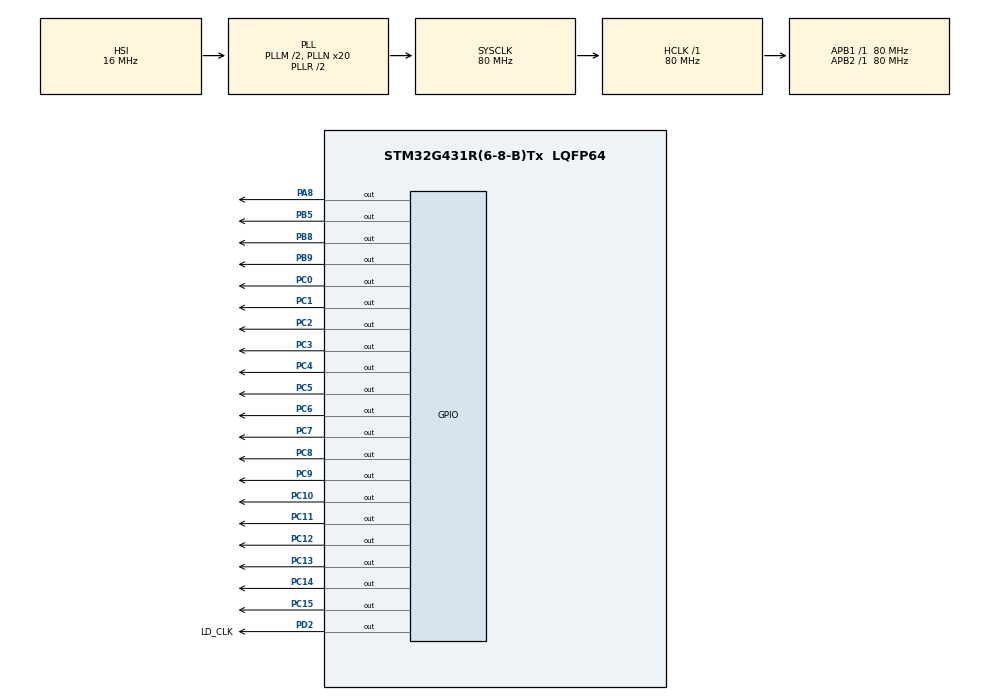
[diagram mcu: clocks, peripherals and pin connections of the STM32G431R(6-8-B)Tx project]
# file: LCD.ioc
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Mcu.Family=STM32G4
Mcu.Name=STM32G431R(6-8-B)Tx
Mcu.Package=LQFP64
NVIC.PriorityGroup=NVIC_PRIORITYGROUP_4
PA8.Signal=GPIO_Output
PB5.Signal=GPIO_Output
PB8-BOOT0.Signal=GPIO_Output
PB9.Signal=GPIO_Output
PC0.Signal=GPIO_Output
PC1.Signal=GPIO_Output
PC10.Signal=GPIO_Output
PC11.Signal=GPIO_Output
PC12.Signal=GPIO_Output
PC13.Signal=GPIO_Output
PC14-OSC32_IN.Signal=GPIO_Output
PC15-OSC32_OUT.Signal=GPIO_Output
PC2.Signal=GPIO_Output
PC3.Signal=GPIO_Output
PC4.Signal=GPIO_Output
PC5.Signal=GPIO_Output
PC6.Signal=GPIO_Output
PC7.Signal=GPIO_Output
PC8.Signal=GPIO_Output
PC9.Signal=GPIO_Output
PD2.GPIO_Label=LD_CLK
PD2.Signal=GPIO_Output
PF0-OSC_IN.Mode=HSE-External-Oscillator
PF0-OSC_IN.Signal=RCC_OSC_IN
PF1-OSC_OUT.Mode=HSE-External-Oscillator
PF1-OSC_OUT.Signal=RCC_OSC_OUT
ProjectManager.HeapSize=0x200
ProjectManager.StackSize=0x400
ProjectManager.TargetToolchain=MDK-ARM V5.27
RCC.ADC12Freq_Value=80000000
RCC.AHBFreq_Value=80000000
RCC.APB1Freq_Value=80000000
RCC.APB1TimFreq_Value=80000000
RCC.APB2Freq_Value=80000000
RCC.APB2TimFreq_Value=80000000
RCC.CortexFreq_Value=80000000
RCC.EXTERNAL_CLOCK_VALUE=12288000
RCC.HCLKFreq_Value=80000000
RCC.HSE_VALUE=24000000
RCC.HSI48_VALUE=48000000
RCC.HSI_VALUE=16000000
RCC.LSE_VALUE=32768
RCC.PLLM=RCC_PLLM_DIV2
RCC.PLLN=20
RCC.SYSCLKFreq_VALUE=80000000
RCC.SYSCLKSource=RCC_SYSCLKSOURCE_PLLCLK
RCC.USBFreq_Value=80000000
RCC.VCOOutputFreq_Value=160000000
VP_SYS_VS_DBSignals.Mode=DisableDeadBatterySignals
board=custom

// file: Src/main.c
/* USER CODE BEGIN Header */
/**
  ******************************************************************************
  * @file           : main.c
  * @brief          : Main program body
  ******************************************************************************
  * @attention
  *
  * <h2><center>&copy; Copyright (c) 2021 STMicroelectronics.
  * All rights reserved.</center></h2>
  *
  * This software component is licensed by ST under BSD 3-Clause license,
  * the "License"; You may not use this file except in compliance with the
  * License. You may obtain a copy of the License at:
  *                        opensource.org/licenses/BSD-3-Clause
  *
  ******************************************************************************
  */
/* USER CODE END Header */
#include "main.h"
#include <stdio.h>
/* USER CODE BEGIN Includes */
#include "lcd.h"
/* USER CODE END Includes */

/* USER CODE BEGIN PV */
uint16_t Led_Val;
uint8_t i = 0;
/* USER CODE END PV */

void SystemClock_Config(void);
static void MX_GPIO_Init(void);

/* USER CODE BEGIN 0 */
//操作LED的函数
//1 关闭全部LED，避免与LCD起冲突
void TurnOff_LEDS()
{
	Led_Val = 0xFF00;
	HAL_GPIO_WritePin(LD_CLK_GPIO_Port, LD_CLK_Pin, GPIO_PIN_SET);
	GPIOC->ODR = (uint32_t)Led_Val;
	HAL_GPIO_WritePin(LD_CLK_GPIO_Port, LD_CLK_Pin, GPIO_PIN_RESET);
}
//2 关闭LED
void TurnOff_LED(uint8_t i)
{
	Led_Val |= (0x01 << (7 + i));
	HAL_GPIO_WritePin(LD_CLK_GPIO_Port, LD_CLK_Pin, GPIO_PIN_SET);
	GPIOC->ODR = (uint32_t)Led_Val;
	HAL_GPIO_WritePin(LD_CLK_GPIO_Port, LD_CLK_Pin, GPIO_PIN_RESET);
}
//3 打开LED
void TurnOn_LED(uint8_t i)
{
	Led_Val &= ~(0x01 << (7 + i));
	HAL_GPIO_WritePin(LD_CLK_GPIO_Port, LD_CLK_Pin, GPIO_PIN_SET);
	GPIOC->ODR = (uint32_t)Led_Val;
	HAL_GPIO_WritePin(LD_CLK_GPIO_Port, LD_CLK_Pin, GPIO_PIN_RESET);
}

//LCD显示进程
void Display_Proc()
{
	uint8_t buf[30];
	sprintf((char *)buf, "The value of i is: ");
	LCD_DisplayStringLine(Line0, buf);
	sprintf((char *)buf, "   %d", i);
	LCD_DisplayStringLine(Line1, buf);
}
/* USER CODE END 0 */

int main(void)
{

  /* MCU Configuration--------------------------------------------------------*/

  /* Reset of all peripherals, Initializes the Flash interface and the Systick. */
  HAL_Init();

  /* Configure the system clock */
  SystemClock_Config();

  /* Initialize all configured peripherals */
  MX_GPIO_Init();
  /* USER CODE BEGIN 2 */
	//初始化LCD
	LCD_Init();
	LCD_Clear(White);
	LCD_SetBackColor(White);
	LCD_SetTextColor(Black);
	//关闭全部LED
	TurnOff_LEDS();
  /* USER CODE END 2 */

  /* Infinite loop */
  /* USER CODE BEGIN WHILE */
  while (1)
  {
		Display_Proc();
    /* USER CODE END WHILE */

    /* USER CODE BEGIN 3 */
		if(++i == 100)
		{
			i = 0;
		}
		HAL_Delay(100);
  }
  /* USER CODE END 3 */
}

void SystemClock_Config(void)
{
  RCC_OscInitTypeDef RCC_OscInitStruct = {0};
  RCC_ClkInitTypeDef RCC_ClkInitStruct = {0};

  /** Configure the main internal regulator output voltage
  */
  HAL_PWREx_ControlVoltageScaling(PWR_REGULATOR_VOLTAGE_SCALE1);
  /** Initializes the RCC Oscillators according to the specified parameters
  * in the RCC_OscInitTypeDef structure.
  */
  RCC_OscInitStruct.OscillatorType = RCC_OSCILLATORTYPE_HSI;
  RCC_OscInitStruct.HSIState = RCC_HSI_ON;
  RCC_OscInitStruct.HSICalibrationValue = RCC_HSICALIBRATION_DEFAULT;
  RCC_OscInitStruct.PLL.PLLState = RCC_PLL_ON;
  RCC_OscInitStruct.PLL.PLLSource = RCC_PLLSOURCE_HSI;
  RCC_OscInitStruct.PLL.PLLM = RCC_PLLM_DIV2;
  RCC_OscInitStruct.PLL.PLLN = 20;
  RCC_OscInitStruct.PLL.PLLP = RCC_PLLP_DIV2;
  RCC_OscInitStruct.PLL.PLLQ = RCC_PLLQ_DIV2;
  RCC_OscInitStruct.PLL.PLLR = RCC_PLLR_DIV2;
  if (HAL_RCC_OscConfig(&RCC_OscInitStruct) != HAL_OK)
  {
    Error_Handler();
  }
  /** Initializes the CPU, AHB and APB buses clocks
  */
  RCC_ClkInitStruct.ClockType = RCC_CLOCKTYPE_HCLK|RCC_CLOCKTYPE_SYSCLK
                              |RCC_CLOCKTYPE_PCLK1|RCC_CLOCKTYPE_PCLK2;
  RCC_ClkInitStruct.SYSCLKSource = RCC_SYSCLKSOURCE_PLLCLK;
  RCC_ClkInitStruct.AHBCLKDivider = RCC_SYSCLK_DIV1;
  RCC_ClkInitStruct.APB1CLKDivider = RCC_HCLK_DIV1;
  RCC_ClkInitStruct.APB2CLKDivider = RCC_HCLK_DIV1;

  if (HAL_RCC_ClockConfig(&RCC_ClkInitStruct, FLASH_LATENCY_2) != HAL_OK)
  {
    Error_Handler();
  }
}

static void MX_GPIO_Init(void)
{
  GPIO_InitTypeDef GPIO_InitStruct = {0};

  /* GPIO Ports Clock Enable */
  __HAL_RCC_GPIOC_CLK_ENABLE();
  __HAL_RCC_GPIOF_CLK_ENABLE();
  __HAL_RCC_GPIOA_CLK_ENABLE();
  __HAL_RCC_GPIOD_CLK_ENABLE();
  __HAL_RCC_GPIOB_CLK_ENABLE();

  /*Configure GPIO pin Output Level */
  HAL_GPIO_WritePin(GPIOC, GPIO_PIN_13|GPIO_PIN_14|GPIO_PIN_15|GPIO_PIN_0
                          |GPIO_PIN_1|GPIO_PIN_2|GPIO_PIN_3|GPIO_PIN_4
                          |GPIO_PIN_5|GPIO_PIN_6|GPIO_PIN_7|GPIO_PIN_8
                          |GPIO_PIN_9|GPIO_PIN_10|GPIO_PIN_11|GPIO_PIN_12, GPIO_PIN_RESET);

  /*Configure GPIO pin Output Level */
  HAL_GPIO_WritePin(GPIOA, GPIO_PIN_8, GPIO_PIN_RESET);

  /*Configure GPIO pin Output Level */
  HAL_GPIO_WritePin(LD_CLK_GPIO_Port, LD_CLK_Pin, GPIO_PIN_RESET);

  /*Configure GPIO pin Output Level */
  HAL_GPIO_WritePin(GPIOB, GPIO_PIN_5|GPIO_PIN_8|GPIO_PIN_9, GPIO_PIN_RESET);

  /*Configure GPIO pins : PC13 PC14 PC15 PC0
                           PC1 PC2 PC3 PC4
                           PC5 PC6 PC7 PC8
                           PC9 PC10 PC11 PC12 */
  GPIO_InitStruct.Pin = GPIO_PIN_13|GPIO_PIN_14|GPIO_PIN_15|GPIO_PIN_0
                          |GPIO_PIN_1|GPIO_PIN_2|GPIO_PIN_3|GPIO_PIN_4
                          |GPIO_PIN_5|GPIO_PIN_6|GPIO_PIN_7|GPIO_PIN_8
                          |GPIO_PIN_9|GPIO_PIN_10|GPIO_PIN_11|GPIO_PIN_12;
  GPIO_InitStruct.Mode = GPIO_MODE_OUTPUT_PP;
  GPIO_InitStruct.Pull = GPIO_NOPULL;
  GPIO_InitStruct.Speed = GPIO_SPEED_FREQ_LOW;
  HAL_GPIO_Init(GPIOC, &GPIO_InitStruct);

  /*Configure GPIO pin : PA8 */
  GPIO_InitStruct.Pin = GPIO_PIN_8;
  GPIO_InitStruct.Mode = GPIO_MODE_OUTPUT_PP;
  GPIO_InitStruct.Pull = GPIO_NOPULL;
  GPIO_InitStruct.Speed = GPIO_SPEED_FREQ_LOW;
  HAL_GPIO_Init(GPIOA, &GPIO_InitStruct);

  /*Configure GPIO pin : LD_CLK_Pin */
  GPIO_InitStruct.Pin = LD_CLK_Pin;
  GPIO_InitStruct.Mode = GPIO_MODE_OUTPUT_PP;
  GPIO_InitStruct.Pull = GPIO_NOPULL;
  GPIO_InitStruct.Speed = GPIO_SPEED_FREQ_LOW;
  HAL_GPIO_Init(LD_CLK_GPIO_Port, &GPIO_InitStruct);

  /*Configure GPIO pins : PB5 PB8 PB9 */
  GPIO_InitStruct.Pin = GPIO_PIN_5|GPIO_PIN_8|GPIO_PIN_9;
  GPIO_InitStruct.Mode = GPIO_MODE_OUTPUT_PP;
  GPIO_InitStruct.Pull = GPIO_NOPULL;
  GPIO_InitStruct.Speed = GPIO_SPEED_FREQ_LOW;
  HAL_GPIO_Init(GPIOB, &GPIO_InitStruct);

}

void Error_Handler(void)
{
  __disable_irq();
  while (1)
  {
  }
}

/************************ (C) COPYRIGHT STMicroelectronics *****END OF FILE****/
